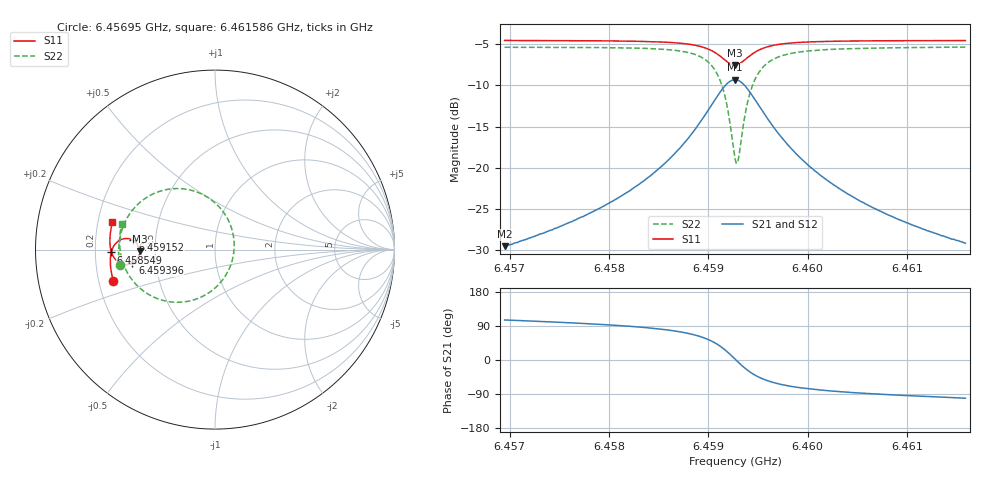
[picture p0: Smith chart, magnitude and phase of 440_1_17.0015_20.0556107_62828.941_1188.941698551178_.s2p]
#  HZ  S  RI  R  50.00
! Rohde & Schwarz Vector Network Analyzer
! Rohde-Schwarz,ZNB20-2Port,1311601062101988,3.16
! Created: UTC 3/20/2024, 11:11:49 PM
! freq[Hz]  re:S11  im:S11  re:S21  im:S21  re:S12  im:S12  re:S22  im:S22
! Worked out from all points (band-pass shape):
!   401 points, 6.45695 GHz to 6.461586 GHz, reference 50 ohm
!   highest |S21| = -9.31 dB at 6.459268 GHz (marker M1); lowest = -29.5 dB at 6.45695 GHz (marker M2)
!   |S21| within 3 dB of the highest: 6.459036 GHz to 6.4595 GHz (464.1 kHz wide, 0.00719 % of centre)
!   lowest |S11| = -7.5 dB at 6.459268 GHz (marker M3), VSWR 2.45, Z = 20.4 - j0.522 ohm
!   |S11| at or under -10 dB: nowhere
!   |S22| runs from -19.4 to -5.4 dB; largest |S21 - S12| = 0.013
!   S11 on the Smith chart (normalised r, x): 6.45695 GHz: 0.26, -0.14; 6.458549 GHz: 0.27, -0.01; 6.459152 GHz: 0.37, +0.05; 6.459396 GHz: 0.37, -0.07; 6.461586 GHz: 0.26, +0.12
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6.4569498e9  -0.566 -0.1742  -0.00899 0.0322  -0.00733 0.0321  -0.5312 -0.0871
6.4577264e9  -0.5804 -0.1065  -0.00578 0.05  -0.0032 0.0494  -0.5369 0.00307
6.4581901e9  -0.5834 -0.06  0.000811 0.0714  0.00412 0.07  -0.5278 0.0768
6.458503e9  -0.5799 -0.0224  0.0137 0.0979  0.0177 0.0952  -0.5043 0.1479
6.4585494e9  -0.5785 -0.0161  0.0171 0.1034  0.0211 0.1004  -0.4979 0.161
6.4587581e9  -0.5664 0.0157  0.0431 0.1348  0.0471 0.13  -0.4494 0.2322
6.4589088e9  -0.5454 0.0419  0.0853 0.1649  0.0886 0.1584  -0.3716 0.2962
6.4590594e9  -0.4997 0.0616  0.1762 0.1837  0.1773 0.1764  -0.2051 0.3401
6.4591522e9  -0.4553 0.0516  0.2653 0.1531  0.2657 0.1472  -0.0403 0.291
6.4591985e9  -0.4344 0.0331  0.3088 0.1109  0.31 0.1055  0.042 0.2158
6.4592681e9  -0.4195 -0.0105  0.342 0.0151  0.3456 0.00813  0.107 0.038
6.4592797e9  -0.4201 -0.0186  0.3418 -0.0026  0.3456 -0.0101  0.1067 0.00472
6.4593029e9  -0.4235 -0.0339  0.3365 -0.037  0.3402 -0.046  0.096 -0.0604
6.4593492e9  -0.4388 -0.0597  0.3085 -0.0964  0.3105 -0.1082  0.0395 -0.1727
6.4593956e9  -0.4606 -0.0758  0.2669 -0.1372  0.2661 -0.1504  -0.0444 -0.2472
6.4594883e9  -0.5036 -0.0826  0.1829 -0.1684  0.1769 -0.1798  -0.2113 -0.2936
6.459639e9  -0.5471 -0.0622  0.0958 -0.1551  0.0875 -0.1612  -0.3777 -0.2451
6.4598129e9  -0.5694 -0.0328  0.049 -0.1258  0.0417 -0.1284  -0.4614 -0.1691
6.4600447e9  -0.5811 0.000981  0.0222 -0.0963  0.0164 -0.0969  -0.5056 -0.0918
6.4603693e9  -0.5855 0.0396  0.00704 -0.071  0.00285 -0.0707  -0.5263 -0.0176
6.4608214e9  -0.5836 0.0848  -0.00137 -0.0513  -0.00411 -0.0506  -0.5313 0.0549
6.4615864e9  -0.5712 0.1525  -0.00653 -0.0342  -0.00814 -0.0333  -0.5198 0.1448
